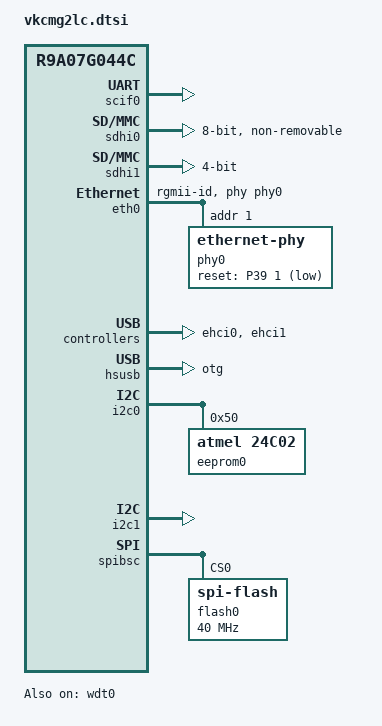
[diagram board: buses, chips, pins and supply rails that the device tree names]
/dts-v1/;
#include <dt-bindings/gpio/gpio.h>
#include "r9a07g044c.dtsi"
#include "r9a07g044c-u-boot.dtsi"
#include <dt-bindings/pinctrl/rzg2l-pinctrl.h>

#define I2C3 0

/ {
        aliases {
                serial0 = &scif0;
                spi0 = &spibsc;
        };

        chosen {
                stdout-path = "serial0:115200n8";
        };
};

&pinctrl {
        eth0_pins: eth0 {
                pinmux = <RZG2L_PINMUX(28, 1, 1)>, /* ET0_LINKSTA */
                         <RZG2L_PINMUX(27, 1, 1)>, /* ET0_MDC */
                         <RZG2L_PINMUX(28, 0, 1)>, /* ET0_MDIO */
                         <RZG2L_PINMUX(20, 0, 1)>, /* ET0_TXC */
                         <RZG2L_PINMUX(20, 1, 1)>, /* ET0_TX_CTL */
                         <RZG2L_PINMUX(20, 2, 1)>, /* ET0_TXD0 */
                         <RZG2L_PINMUX(21, 0, 1)>, /* ET0_TXD1 */
                         <RZG2L_PINMUX(21, 1, 1)>, /* ET0_TXD2 */
                         <RZG2L_PINMUX(22, 0, 1)>, /* ET0_TXD3 */
                         <RZG2L_PINMUX(24, 0, 1)>, /* ET0_RXC */
                         <RZG2L_PINMUX(24, 1, 1)>, /* ET0_RX_CTL */
                         <RZG2L_PINMUX(25, 0, 1)>, /* ET0_RXD0 */
                         <RZG2L_PINMUX(25, 1, 1)>, /* ET0_RXD1 */
                         <RZG2L_PINMUX(26, 0, 1)>, /* ET0_RXD2 */
                         <RZG2L_PINMUX(26, 1, 1)>; /* ET0_RXD3 */
        };

#if I2C3
	i2c3_pins: i2c3 {
                pinmux = <RZG2L_PINMUX(18, 0, 3)>,
                         <RZG2L_PINMUX(18, 1, 3)>;
        }; 
#endif
};

&xinclk {
        clock-frequency = <24000000>;
};

&scif0 {
        status = "okay";
        clock = <100000000>;
};

&sdhi0 {
        bus-width = <8>;
	non-removable; /* Forces U-Boot to assume the card is instantly present */
        status = "okay";
};

&sdhi1 {
        bus-width = <4>;
        status = "okay";
};

&eth0 {
        pinctrl-names = "default";
        pinctrl-0 = <&eth0_pins>;
        phy-handle = <&phy0>;
        phy-mode = "rgmii-id";
        status = "okay";

        phy0: ethernet-phy@1 {
                reg = <1>;
		reset-gpios = <&P39 1 GPIO_ACTIVE_LOW>;
        };
};

&ehci0 {
        status = "okay";
}; 

&ehci1 {
        status = "okay";
};

&hsusb {
	dr_mode = "otg";
	status = "okay";
};

&i2c0 {
        pinctrl-names = "default";
        status = "okay";

	eeprom0: eeprom@50 {
		compatible = "atmel,24c02";
		reg = <0x50>;
		pagesize = <16>;
	};
};

&i2c1 {
        pinctrl-names = "default";
        status = "okay";
};

#if I2C3
&i2c3 {
        pinctrl-0 = <&i2c3_pins>;
        pinctrl-names = "default";
        status = "okay";
};
#endif

&spibsc {
        num-cs = <1>;
        status = "okay";
        spi-max-frequency = <40000000>;
        #address-cells = <1>;
        #size-cells = <0>;
        flash0: spi-flash@0 {
                #address-cells = <1>;
                #size-cells = <1>;
                compatible = "spi-flash", "jedec,spi-nor";
                spi-max-frequency = <40000000>;
                spi-tx-bus-width = <1>;
                spi-rx-bus-width = <1>;
                reg = <0>;
                status = "okay";
        };
};

&wdt0 {
        status = "okay";
        timeout-sec = <60>;
};
